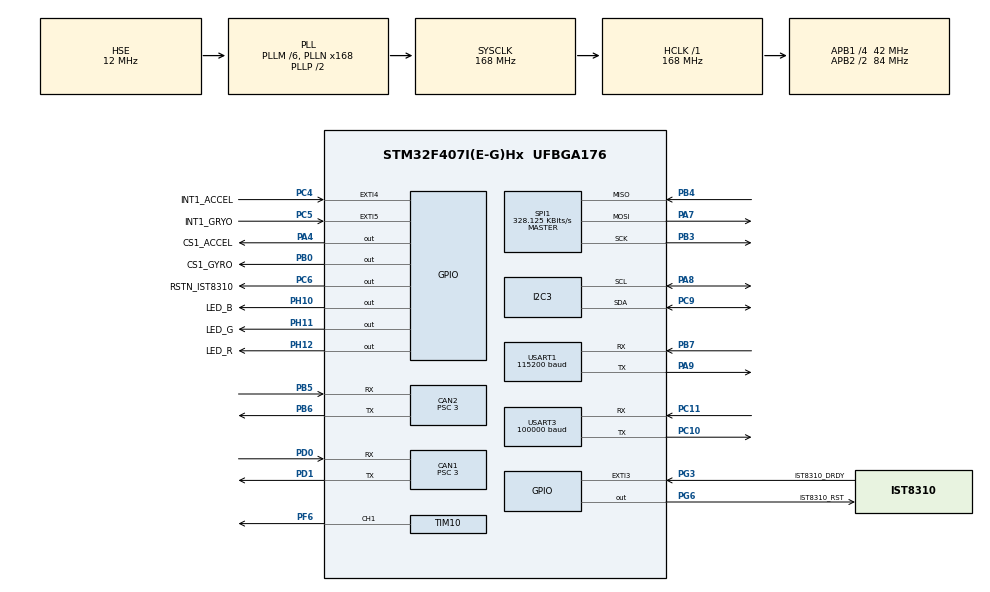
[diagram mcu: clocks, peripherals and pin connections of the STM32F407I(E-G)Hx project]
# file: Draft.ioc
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CAN1.BS1=CAN_BS1_10TQ
CAN1.BS2=CAN_BS2_3TQ
CAN1.CalculateBaudRate=1000000
CAN1.CalculateTimeBit=1000
CAN1.CalculateTimeQuantum=71.42857142857143
CAN1.Prescaler=3
CAN2.BS1=CAN_BS1_10TQ
CAN2.BS2=CAN_BS2_3TQ
CAN2.CalculateBaudRate=1000000
CAN2.CalculateTimeBit=1000
CAN2.CalculateTimeQuantum=71.42857142857143
CAN2.Prescaler=3
Dma.Request0=SPI1_RX
Dma.Request1=SPI1_TX
Dma.Request2=USART1_TX
Dma.Request3=USART3_RX
Dma.Request4=USART1_RX
Dma.SPI1_RX.0.Direction=DMA_PERIPH_TO_MEMORY
Dma.SPI1_RX.0.FIFOMode=DMA_FIFOMODE_DISABLE
Dma.SPI1_RX.0.Instance=DMA2_Stream2
Dma.SPI1_RX.0.MemDataAlignment=DMA_MDATAALIGN_BYTE
Dma.SPI1_RX.0.MemInc=DMA_MINC_ENABLE
Dma.SPI1_RX.0.Mode=DMA_NORMAL
Dma.SPI1_RX.0.PeriphDataAlignment=DMA_PDATAALIGN_BYTE
Dma.SPI1_RX.0.PeriphInc=DMA_PINC_DISABLE
Dma.SPI1_RX.0.Priority=DMA_PRIORITY_VERY_HIGH
Dma.SPI1_TX.1.Direction=DMA_MEMORY_TO_PERIPH
Dma.SPI1_TX.1.FIFOMode=DMA_FIFOMODE_DISABLE
Dma.SPI1_TX.1.Instance=DMA2_Stream3
Dma.SPI1_TX.1.MemDataAlignment=DMA_MDATAALIGN_BYTE
Dma.SPI1_TX.1.MemInc=DMA_MINC_ENABLE
Dma.SPI1_TX.1.Mode=DMA_NORMAL
Dma.SPI1_TX.1.PeriphDataAlignment=DMA_PDATAALIGN_BYTE
Dma.SPI1_TX.1.PeriphInc=DMA_PINC_DISABLE
Dma.SPI1_TX.1.Priority=DMA_PRIORITY_HIGH
Dma.USART1_RX.4.Direction=DMA_PERIPH_TO_MEMORY
Dma.USART1_RX.4.FIFOMode=DMA_FIFOMODE_DISABLE
Dma.USART1_RX.4.Instance=DMA2_Stream5
Dma.USART1_RX.4.MemDataAlignment=DMA_MDATAALIGN_BYTE
Dma.USART1_RX.4.MemInc=DMA_MINC_ENABLE
Dma.USART1_RX.4.Mode=DMA_NORMAL
Dma.USART1_RX.4.PeriphDataAlignment=DMA_PDATAALIGN_BYTE
Dma.USART1_RX.4.PeriphInc=DMA_PINC_DISABLE
Dma.USART1_RX.4.Priority=DMA_PRIORITY_LOW
Dma.USART1_TX.2.Direction=DMA_MEMORY_TO_PERIPH
Dma.USART1_TX.2.FIFOMode=DMA_FIFOMODE_DISABLE
Dma.USART1_TX.2.Instance=DMA2_Stream7
Dma.USART1_TX.2.MemDataAlignment=DMA_MDATAALIGN_BYTE
Dma.USART1_TX.2.MemInc=DMA_MINC_ENABLE
Dma.USART1_TX.2.Mode=DMA_NORMAL
Dma.USART1_TX.2.PeriphDataAlignment=DMA_PDATAALIGN_BYTE
Dma.USART1_TX.2.PeriphInc=DMA_PINC_DISABLE
Dma.USART1_TX.2.Priority=DMA_PRIORITY_VERY_HIGH
Dma.USART3_RX.3.Direction=DMA_PERIPH_TO_MEMORY
Dma.USART3_RX.3.FIFOMode=DMA_FIFOMODE_DISABLE
Dma.USART3_RX.3.Instance=DMA1_Stream1
Dma.USART3_RX.3.MemDataAlignment=DMA_MDATAALIGN_BYTE
Dma.USART3_RX.3.MemInc=DMA_MINC_ENABLE
Dma.USART3_RX.3.Mode=DMA_NORMAL
Dma.USART3_RX.3.PeriphDataAlignment=DMA_PDATAALIGN_BYTE
Dma.USART3_RX.3.PeriphInc=DMA_PINC_DISABLE
Dma.USART3_RX.3.Priority=DMA_PRIORITY_VERY_HIGH
FREERTOS.INCLUDE_eTaskGetState=1
FREERTOS.INCLUDE_pcTaskGetTaskName=1
FREERTOS.INCLUDE_uxTaskGetStackHighWaterMark=1
FREERTOS.INCLUDE_uxTaskGetStackHighWaterMark2=1
FREERTOS.INCLUDE_vTaskCleanUpResources=1
FREERTOS.INCLUDE_vTaskDelayUntil=1
FREERTOS.INCLUDE_xQueueGetMutexHolder=1
FREERTOS.INCLUDE_xSemaphoreGetMutexHolder=1
FREERTOS.INCLUDE_xTaskAbortDelay=1
FREERTOS.INCLUDE_xTaskGetCurrentTaskHandle=1
FREERTOS.INCLUDE_xTaskGetHandle=1
FREERTOS.Tasks01=defaultTask,0,128,StartDefaultTask,Default,NULL,Dynamic,NULL,NULL;weopen,-3,128,weopen_task,Default,NULL,Dynamic,NULL,NULL;can_6020_pitch,-3,128,gimbal_pitch_task,Default,NULL,Dynamic,NULL,NULL;communication,-3,128,communication_task,Default,NULL,Dynamic,NULL,NULL;ins,-3,128,insTask,Default,NULL,Dynamic,NULL,NULL
I2C3.I2C_Mode=I2C_Fast
Mcu.Family=STM32F4
Mcu.Name=STM32F407I(E-G)Hx
Mcu.Package=UFBGA176
NVIC.CAN1_RX0_IRQn=true\:5\:0\:false\:false\:true\:true\:true\:true\:true
NVIC.CAN1_TX_IRQn=true\:5\:0\:false\:false\:true\:true\:true\:true\:true
NVIC.CAN2_RX0_IRQn=true\:5\:0\:false\:false\:true\:true\:true\:true\:true
NVIC.CAN2_TX_IRQn=true\:5\:0\:false\:false\:true\:true\:true\:true\:true
NVIC.DMA1_Stream1_IRQn=true\:5\:0\:false\:false\:true\:true\:false\:true\:true
NVIC.DMA2_Stream2_IRQn=true\:5\:0\:false\:false\:true\:true\:false\:true\:true
NVIC.DMA2_Stream3_IRQn=true\:5\:0\:false\:false\:true\:true\:false\:true\:true
NVIC.DMA2_Stream5_IRQn=true\:5\:0\:false\:false\:true\:true\:false\:true\:true
NVIC.DMA2_Stream7_IRQn=true\:5\:0\:false\:false\:true\:true\:false\:true\:true
NVIC.PriorityGroup=NVIC_PRIORITYGROUP_4
NVIC.SPI1_IRQn=true\:5\:0\:false\:false\:true\:true\:true\:true\:true
NVIC.USART1_IRQn=true\:5\:0\:false\:false\:true\:true\:true\:true\:true
NVIC.USART3_IRQn=true\:5\:0\:false\:false\:true\:true\:true\:true\:true
PA13.Mode=Serial_Wire
PA13.Signal=SYS_JTMS-SWDIO
PA14.Mode=Serial_Wire
PA14.Signal=SYS_JTCK-SWCLK
PA4.GPIO_Label=CS1_ACCEL
PA4.GPIO_PuPd=GPIO_PULLUP
PA4.GPIO_Speed=GPIO_SPEED_FREQ_HIGH
PA4.PinState=GPIO_PIN_SET
PA4.Signal=GPIO_Output
PA7.GPIO_PuPd=GPIO_PULLUP
PA7.Mode=Full_Duplex_Master
PA7.Signal=SPI1_MOSI
PA8.Mode=I2C
PA8.Signal=I2C3_SCL
PA9.GPIO_PuPd=GPIO_PULLUP
PA9.Mode=Asynchronous
PA9.Signal=USART1_TX
PB0.GPIO_Label=CS1_GYRO
PB0.GPIO_PuPd=GPIO_PULLUP
PB0.GPIO_Speed=GPIO_SPEED_FREQ_HIGH
PB0.PinState=GPIO_PIN_SET
PB0.Signal=GPIO_Output
PB3.GPIO_PuPd=GPIO_PULLUP
PB3.Mode=Full_Duplex_Master
PB3.Signal=SPI1_SCK
PB4.GPIO_PuPd=GPIO_PULLUP
PB4.Mode=Full_Duplex_Master
PB4.Signal=SPI1_MISO
PB5.GPIO_PuPd=GPIO_PULLUP
PB5.Mode=CAN_Activate
PB5.Signal=CAN2_RX
PB6.GPIO_PuPd=GPIO_PULLUP
PB6.Mode=CAN_Activate
PB6.Signal=CAN2_TX
PB7.GPIO_PuPd=GPIO_PULLUP
PB7.Mode=Asynchronous
PB7.Signal=USART1_RX
PC10.GPIO_PuPd=GPIO_PULLUP
PC10.Mode=Asynchronous
PC10.Signal=USART3_TX
PC11.GPIO_PuPd=GPIO_PULLUP
PC11.Mode=Asynchronous
PC11.Signal=USART3_RX
PC4.GPIO_Label=INT1_ACCEL
PC4.GPIO_ModeDefaultEXTI=GPIO_MODE_EVT_FALLING
PC4.GPIO_PuPd=GPIO_PULLUP
PC4.Signal=GPXTI4
PC5.GPIO_Label=INT1_GRYO
PC5.GPIO_ModeDefaultEXTI=GPIO_MODE_EVT_FALLING
PC5.GPIO_PuPd=GPIO_PULLUP
PC5.Signal=GPXTI5
PC6.GPIO_Label=RSTN_IST8310
PC6.GPIO_PuPd=GPIO_PULLUP
PC6.GPIO_Speed=GPIO_SPEED_FREQ_MEDIUM
PC6.PinState=GPIO_PIN_SET
PC6.Signal=GPIO_Output
PC9.Mode=I2C
PC9.Signal=I2C3_SDA
PD0.GPIO_PuPd=GPIO_PULLUP
PD0.Mode=CAN_Activate
PD0.Signal=CAN1_RX
PD1.GPIO_PuPd=GPIO_PULLUP
PD1.Mode=CAN_Activate
PD1.Signal=CAN1_TX
PF6.Signal=S_TIM10_CH1
PG3.GPIO_Label=IST8310_DRDY
PG3.GPIO_PuPd=GPIO_PULLUP
PG3.Signal=GPXTI3
PG6.GPIO_Label=IST8310_RST
PG6.GPIO_Speed=GPIO_SPEED_FREQ_MEDIUM
PG6.PinState=GPIO_PIN_SET
PG6.Signal=GPIO_Output
PH0-OSC_IN.Mode=HSE-External-Oscillator
PH0-OSC_IN.Signal=RCC_OSC_IN
PH1-OSC_OUT.Mode=HSE-External-Oscillator
PH1-OSC_OUT.Signal=RCC_OSC_OUT
PH10.GPIO_Label=LED_B
PH10.GPIO_PuPd=GPIO_PULLUP
PH10.GPIO_Speed=GPIO_SPEED_FREQ_HIGH
PH10.PinState=GPIO_PIN_SET
PH10.Signal=GPIO_Output
PH11.GPIO_Label=LED_G
PH11.GPIO_PuPd=GPIO_PULLUP
PH11.GPIO_Speed=GPIO_SPEED_FREQ_HIGH
PH11.PinState=GPIO_PIN_SET
PH11.Signal=GPIO_Output
PH12.GPIO_Label=LED_R
PH12.GPIO_PuPd=GPIO_PULLUP
PH12.GPIO_Speed=GPIO_SPEED_FREQ_HIGH
PH12.PinState=GPIO_PIN_SET
PH12.Signal=GPIO_Output
ProjectManager.HeapSize=0x200
ProjectManager.StackSize=0x400
ProjectManager.TargetToolchain=MDK-ARM V5.32
RCC.48MHZClocksFreq_Value=84000000
RCC.AHBFreq_Value=168000000
RCC.APB1CLKDivider=RCC_HCLK_DIV4
RCC.APB1Freq_Value=42000000
RCC.APB1TimFreq_Value=84000000
RCC.APB2CLKDivider=RCC_HCLK_DIV2
RCC.APB2Freq_Value=84000000
RCC.APB2TimFreq_Value=168000000
RCC.CortexFreq_Value=168000000
RCC.HCLKFreq_Value=168000000
RCC.HSE_VALUE=12000000
RCC.HSI_VALUE=16000000
RCC.LSE_VALUE=32768
RCC.PLLM=6
RCC.PLLN=168
RCC.PLLSourceVirtual=RCC_PLLSOURCE_HSE
RCC.SYSCLKFreq_VALUE=168000000
RCC.SYSCLKSource=RCC_SYSCLKSOURCE_PLLCLK
RCC.VCOOutputFreq_Value=336000000
SH.S_TIM10_CH1.0=TIM10_CH1,PWM Generation1 CH1
SPI1.BaudRatePrescaler=SPI_BAUDRATEPRESCALER_256
SPI1.CLKPhase=SPI_PHASE_2EDGE
SPI1.CLKPolarity=SPI_POLARITY_HIGH
SPI1.CalculateBaudRate=328.125 KBits/s
SPI1.Direction=SPI_DIRECTION_2LINES
SPI1.Mode=SPI_MODE_MASTER
SPI1.VirtualType=VM_MASTER
TIM10.Channel=TIM_CHANNEL_1
TIM10.Period=4999
USART1.BaudRate=115200
USART1.VirtualMode=VM_ASYNC
USART3.BaudRate=100000
USART3.Parity=PARITY_EVEN
USART3.VirtualMode=VM_ASYNC
VP_FREERTOS_VS_CMSIS_V1.Mode=CMSIS_V1
VP_TIM10_VS_ClockSourceINT.Mode=Enable_Timer
board=custom

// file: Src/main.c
/* USER CODE BEGIN Header */
/**
  ******************************************************************************
  * @file           : main.c
  * @brief          : Main program body
  ******************************************************************************
  * @attention
  *
  * Copyright (c) 2022 STMicroelectronics.
  * All rights reserved.
  *
  * This software is licensed under terms that can be found in the LICENSE file
  * in the root directory of this software component.
  * If no LICENSE file comes with this software, it is provided AS-IS.
  *
  ******************************************************************************
  */
/* USER CODE END Header */
#include "main.h"
#include "cmsis_os.h"
#include "can.h"
#include "dma.h"
#include "i2c.h"
#include "spi.h"
#include "tim.h"
#include "usart.h"
#include "gpio.h"

/* USER CODE BEGIN Includes */
#include "bsp_rc.h"
#include "remote_control.h"
/* USER CODE END Includes */

/* USER CODE BEGIN PV */
uint16_t can_cnt_1;
uint16_t can_cnt_2;
float target_speed[7];
moto_info_t motor_info[MOTOR_MAX_NUM];
pid_struct_t motor_pid[7];

uint8_t can_flag=0;
double step=9158/660;
double r;
double sin_sita;
double cos_sita;
double target_v;
int16_t target_int1;
int16_t target_int2;
double target_curl;
float yuntai_step=60*(1024-364);
/* USER CODE END PV */

void SystemClock_Config(void);
void MX_FREERTOS_Init(void);

int main(void)
{

  /* MCU Configuration--------------------------------------------------------*/

  /* Reset of all peripherals, Initializes the Flash interface and the Systick. */
  HAL_Init();

  /* Configure the system clock */
  SystemClock_Config();

  /* Initialize all configured peripherals */
  MX_GPIO_Init();
  MX_DMA_Init();
  MX_CAN1_Init();
  MX_CAN2_Init();
  MX_SPI1_Init();
  MX_USART1_UART_Init();
  MX_USART3_UART_Init();
  MX_I2C3_Init();
  MX_TIM10_Init();
  /* USER CODE BEGIN 2 */
  CAN_AlternateConfig();
  remote_control_init();
  /* USER CODE END 2 */

  /* Call init function for freertos objects (in freertos.c) */
  MX_FREERTOS_Init();

  /* Start scheduler */
  osKernelStart();

  /* We should never get here as control is now taken by the scheduler */
  /* Infinite loop */
  while (1)
  {

  }
}

void SystemClock_Config(void)
{
  RCC_OscInitTypeDef RCC_OscInitStruct = {0};
  RCC_ClkInitTypeDef RCC_ClkInitStruct = {0};

  /** Configure the main internal regulator output voltage
  */
  __HAL_RCC_PWR_CLK_ENABLE();
  __HAL_PWR_VOLTAGESCALING_CONFIG(PWR_REGULATOR_VOLTAGE_SCALE1);

  /** Initializes the RCC Oscillators according to the specified parameters
  * in the RCC_OscInitTypeDef structure.
  */
  RCC_OscInitStruct.OscillatorType = RCC_OSCILLATORTYPE_HSE;
  RCC_OscInitStruct.HSEState = RCC_HSE_ON;
  RCC_OscInitStruct.PLL.PLLState = RCC_PLL_ON;
  RCC_OscInitStruct.PLL.PLLSource = RCC_PLLSOURCE_HSE;
  RCC_OscInitStruct.PLL.PLLM = 6;
  RCC_OscInitStruct.PLL.PLLN = 168;
  RCC_OscInitStruct.PLL.PLLP = RCC_PLLP_DIV2;
  RCC_OscInitStruct.PLL.PLLQ = 4;
  if (HAL_RCC_OscConfig(&RCC_OscInitStruct) != HAL_OK)
  {
    Error_Handler();
  }

  /** Initializes the CPU, AHB and APB buses clocks
  */
  RCC_ClkInitStruct.ClockType = RCC_CLOCKTYPE_HCLK|RCC_CLOCKTYPE_SYSCLK
                              |RCC_CLOCKTYPE_PCLK1|RCC_CLOCKTYPE_PCLK2;
  RCC_ClkInitStruct.SYSCLKSource = RCC_SYSCLKSOURCE_PLLCLK;
  RCC_ClkInitStruct.AHBCLKDivider = RCC_SYSCLK_DIV1;
  RCC_ClkInitStruct.APB1CLKDivider = RCC_HCLK_DIV4;
  RCC_ClkInitStruct.APB2CLKDivider = RCC_HCLK_DIV2;

  if (HAL_RCC_ClockConfig(&RCC_ClkInitStruct, FLASH_LATENCY_5) != HAL_OK)
  {
    Error_Handler();
  }
}

void Error_Handler(void)
{
  __disable_irq();
  while (1)
  {
  }
}

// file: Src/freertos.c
#include "FreeRTOS.h"
#include "task.h"
#include "main.h"
#include "cmsis_os.h"
#include "usart.h"
#include "remote_control.h"
#include "math.h"
#include "PID.h"
#include "insTask.h"
#include "motor.h"

int flag;

uint32__t shoot_flag;
pid_struct_t pitch_pid[7];
fp32 target_angle;

osThreadId defaultTaskHandle;
osThreadId weopenHandle;
osThreadId can_6020_pitchHandle;
osThreadId communicationHandle;
osThreadId insHandle;

void StartDefaultTask(void const * argument);
void weopen_task(void const * argument);
void gimbal_pitch_task(void const * argument);
void communication_task(void const * argument);
void insTask(void const * argument);

void MX_FREERTOS_Init(void);

void vApplicationGetIdleTaskMemory( StaticTask_t **ppxIdleTaskTCBBuffer, StackType_t **ppxIdleTaskStackBuffer, uint32_t *pulIdleTaskStackSize );

static StaticTask_t xIdleTaskTCBBuffer;
static StackType_t xIdleStack[configMINIMAL_STACK_SIZE];

void vApplicationGetIdleTaskMemory( StaticTask_t **ppxIdleTaskTCBBuffer, StackType_t **ppxIdleTaskStackBuffer, uint32_t *pulIdleTaskStackSize )
{
  *ppxIdleTaskTCBBuffer = &xIdleTaskTCBBuffer;
  *ppxIdleTaskStackBuffer = &xIdleStack[0];
  *pulIdleTaskStackSize = configMINIMAL_STACK_SIZE;
}

void MX_FREERTOS_Init(void) {

  osThreadDef(defaultTask, StartDefaultTask, osPriorityNormal, 0, 128);
  defaultTaskHandle = osThreadCreate(osThread(defaultTask), NULL);

  osThreadDef(weopen, weopen_task, osPriorityIdle, 0, 128);
  weopenHandle = osThreadCreate(osThread(weopen), NULL);

  osThreadDef(can_6020_pitch, gimbal_pitch_task, osPriorityIdle, 0, 128);
  can_6020_pitchHandle = osThreadCreate(osThread(can_6020_pitch), NULL);

  osThreadDef(communication, communication_task, osPriorityIdle, 0, 128);
  communicationHandle = osThreadCreate(osThread(communication), NULL);

  osThreadDef(ins, insTask, osPriorityIdle, 0, 128);
  insHandle = osThreadCreate(osThread(ins), NULL);

}

void StartDefaultTask(void const * argument)
{
  //HAL_GPIO_WritePin(GPIOH, GPIO_PIN_11, GPIO_PIN_SET);
  for(;;)
  {
    osDelay(1);
  }
}

void weopen_task(void const * argument)
{

  pid_init(&motor_pid[4], 5, 0.01, 0, 10000, 10000);
  pid_init(&pitch_pid[3], 10, 0.1, 0, 30000, 30000);

  for(;;)
  {
      // up  7472    down 1534     middle 860

    if( (rc_ctrl.rc.s[1] == 2 && shoot_flag == 0)||shoot_flag == 2)
    {
      target_angle = motor_info[3].rotor_angle;
    }

    if (rc_ctrl.rc.s[1] == 2 )
    {
      pid_init(&motor_pid[0], 1, 0.01, 0, 16384, 16384);
      pid_init(&motor_pid[1], 1, 0.01, 0, 16384, 16384);
      target_speed[0] = -4000;
      target_speed[1] =  4000;
      target_speed[4] = 400;
      target_speed[3] = 400;
      motor_info[0].set_voltage = pid_calc(&motor_pid[0], target_speed[0], motor_info[0].rotor_speed);
      motor_info[1].set_voltage = pid_calc(&motor_pid[1], target_speed[1], motor_info[1].rotor_speed);
      motor_info[4].set_voltage = pid_calc(&motor_pid[4], target_speed[4], motor_info[4].rotor_speed);
      motor_info[3].set_voltage = pid_calc(&pitch_pid[3], target_angle, motor_info[3].rotor_angle);
      shoot_flag = 1;
    }
    else
    {
      pid_init(&motor_pid[0], 10, 0.1, 0, 16384, 16384);
      pid_init(&motor_pid[1], 5, 0.1, 0, 16384, 16384);
      target_speed[0] = 0;
      target_speed[1] = 0;
      target_speed[4] = 0;
      motor_info[0].set_voltage = pid_calc(&motor_pid[0], target_speed[0], motor_info[0].rotor_speed);
      motor_info[1].set_voltage = pid_calc(&motor_pid[1], target_speed[1], motor_info[1].rotor_speed);
      motor_info[4].set_voltage = pid_calc(&motor_pid[4], target_speed[4], motor_info[4].rotor_speed);
      shoot_flag = 0;
    }

    set_motor_voltage(0, motor_info[0].set_voltage, motor_info[1].set_voltage, motor_info[2].set_voltage,motor_info[3].set_voltage);
    set_motor_voltage(1, motor_info[4].set_voltage, 0,0,0);
    osDelay(1);
  }
}

void gimbal_pitch_task(void const * argument)
{
  pid_init(&motor_pid[3], 40, 3, 0, 30000, 30000); // init pid parameter, kp=40, ki=3, kd=0, output limit = 30000
  __HAL_UART_ENABLE_IT(&huart1, UART_IT_IDLE); //使能IDLE中断
	HAL_UART_Receive_DMA(&huart1,rx_buffer,100); //开启接收
  for(;;)
  {
    Get_minipc();
    //send_ins_data_to_a(0,0,0,Yaw_minipc);
    if(rc_ctrl.rc.s[0] == 1)
    {
        target_angle = motor_info[3].rotor_angle - Pitch_minipc* 8192/360;

	      motor_info[3].set_voltage = pid_calc(&pitch_pid[3], target_angle, motor_info[3].rotor_angle);

		    set_motor_voltage1(0, motor_info[0].set_voltage, motor_info[1].set_voltage, motor_info[2].set_voltage,motor_info[3].set_voltage);
    }

    if(can_flag ==1)
    {
      if (rc_ctrl.rc.ch[1] >= 974 && rc_ctrl.rc.ch[1] <= 1074)
      {
        if (motor_info[3].rotor_speed > 10 || motor_info[3].rotor_speed < -10) //锟斤拷锟斤拷(?)
        {
          target_speed[3] = 0;
          motor_info[3].set_voltage = pid_calc(&motor_pid[3], target_speed[3], motor_info[3].rotor_speed);
        }
        else
        {
          target_speed[3] = 0;
        }
      }else
      {
        if(rc_ctrl.rc.ch[1]>=364&&rc_ctrl.rc.ch[1]<=824&& (0 <= motor_info[3].rotor_angle < 1500 ||  motor_info[3].rotor_angle > 7000)) //遥控器往下拨//遥控器往下拨
        {
          target_speed[3] = -((rc_ctrl.rc.ch[1] - 1024) / 660 * 16);
          motor_info[3].set_voltage =  pid_calc(&motor_pid[3], target_speed[3], motor_info[3].rotor_speed);
          shoot_flag = 2;
        }
        if(rc_ctrl.rc.ch[1]>=1224&& (motor_info[3].rotor_angle > 7500 || motor_info[3].rotor_angle < 3000 )) //遥控器往上拨
        {
          target_speed[3] = -((rc_ctrl.rc.ch[1] - 1024) / 660 *16);
          motor_info[3].set_voltage = pid_calc(&motor_pid[3], target_speed[3], motor_info[3].rotor_speed);
          shoot_flag = 2;
        }
      }
      set_motor_voltage1(0,motor_info[1].set_voltage, motor_info[2].set_voltage, motor_info[3].set_voltage, motor_info[3].set_voltage);
    }
    osDelay(1);
  }
}

void communication_task(void const * argument)
{
  // motor_info[1].set_voltage = 0;
  // motor_info[2].set_voltage = 0;
  // motor_info[3].set_voltage = 0;
  // motor_info[4].set_voltage = 0;
  // motor_info[5].set_voltage = 0;
  // motor_info[6].set_voltage = 0;
  // motor_info[7].set_voltage = 0;
  for (;;)
  {
    if (rc_ctrl.rc.ch[3] > 300)
    {
      can_flag = 1;
      HAL_GPIO_WritePin(GPIOH, GPIO_PIN_10, GPIO_PIN_SET);
    }
    osDelay(1);
  }
}
